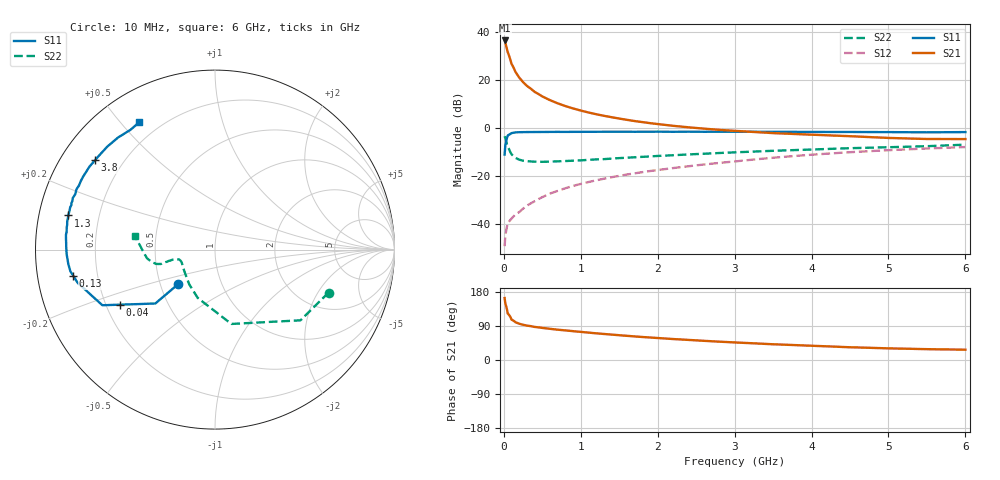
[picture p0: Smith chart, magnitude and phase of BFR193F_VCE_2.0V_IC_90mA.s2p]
! Infineon Technologies  Discrete & RF Semiconductors
! BFR193F
! VCE =  2.0 V,  IC =  90 mA
! Common Emitter S-Parameters:  Jan 2017
# GHz  S  MA  R  50
!  f  S11  S21  S12  S22
! GHz  MAG  ANG  MAG  ANG  MAG  ANG  MAG  ANG
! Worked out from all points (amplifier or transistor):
!   77 points, 10 MHz to 6 GHz, reference 50 ohm
!   highest |S21| = 36.5 dB at 10 MHz (marker M1)
!   |S21| within 3 dB of that: start of sweep to 35.74 MHz
!   unconditionally stable (mu >= 1): start of sweep to 10.51 MHz; 292 MHz to 3.203 GHz
!   at 130 MHz: K = 0.75, MSG = 30.7 dB, |S12| = -36.6 dB
!   at 2.2 GHz: K = 1.09, MAG = 6.9 dB, |S12| = -16.6 dB
!   at 6 GHz: K = 0.97, MSG = 1.7 dB, |S12| = -7.9 dB
!   S11 on the Smith chart (normalised r, x): 10 MHz: 0.62, -0.26; 40 MHz: 0.26, -0.25; 130 MHz: 0.11, -0.09; 1.3 GHz: 0.09, +0.11; 3.8 GHz: 0.10, +0.33; 6 GHz: 0.13, +0.56
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0.01  0.2818 -136.9  66.46 163.5  0.0035 72.2  0.6768 -20.7
0.02  0.4477 -137.9  59.41 148.7  0.0059 65.8  0.6182 -39.6
0.04  0.6115 -149.9  44.09 134.1  0.0088 53.9  0.4628 -61.7
0.05  0.6999 -153.7  38.14 122.8  0.0104 50.6  0.4241 -77.6
0.1  0.7873 -166.4  21.66 106.5  0.0131 49.4  0.2858 -109.7
0.13  0.8031 -169.5  17.55 103.1  0.0148 52.0  0.256 -119.1
0.15  0.8149 -171.5  14.86 99.8  0.0159 53.4  0.2408 -126.6
0.2  0.8212 -174.4  11.24 95.7  0.0179 58.2  0.2203 -136.4
0.25  0.8243 -176.8  9.02 93.0  0.0211 62.4  0.2094 -144.2
0.3  0.827 -178.2  7.551 90.8  0.0244 64.5  0.2051 -148.7
0.4  0.8288 179.3  5.672 87.3  0.0301 69.2  0.2001 -155.4
0.5  0.8301 177.5  4.557 84.7  0.0366 71.3  0.1989 -159.0
0.7  0.8345 174.3  3.274 80.0  0.0495 74.7  0.2034 -162.8
0.9  0.8352 171.6  2.562 76.1  0.0627 75.6  0.2099 -165.2
1.1  0.8381 169.3  2.111 72.3  0.0754 76.1  0.2187 -165.7
1.3  0.839 166.9  1.802 68.7  0.0885 76.1  0.2262 -166.3
2.1  0.8401 159.2  1.164 56.7  0.1407 75.0  0.2678 -166.1
3.1  0.8391 150.2  0.858 45.4  0.21 71.9  0.3175 -165.4
3.8  0.8338 143.4  0.751 39.2  0.2641 68.1  0.3497 -167.8
4.1  0.8312 140.4  0.719 36.8  0.2864 66.2  0.3629 -169.6
5.1  0.8232 129.7  0.618 30.3  0.3528 58.8  0.404 -179.5
6  0.8256 120.8  0.591 27.2  0.4035 52.4  0.4524 170.6
